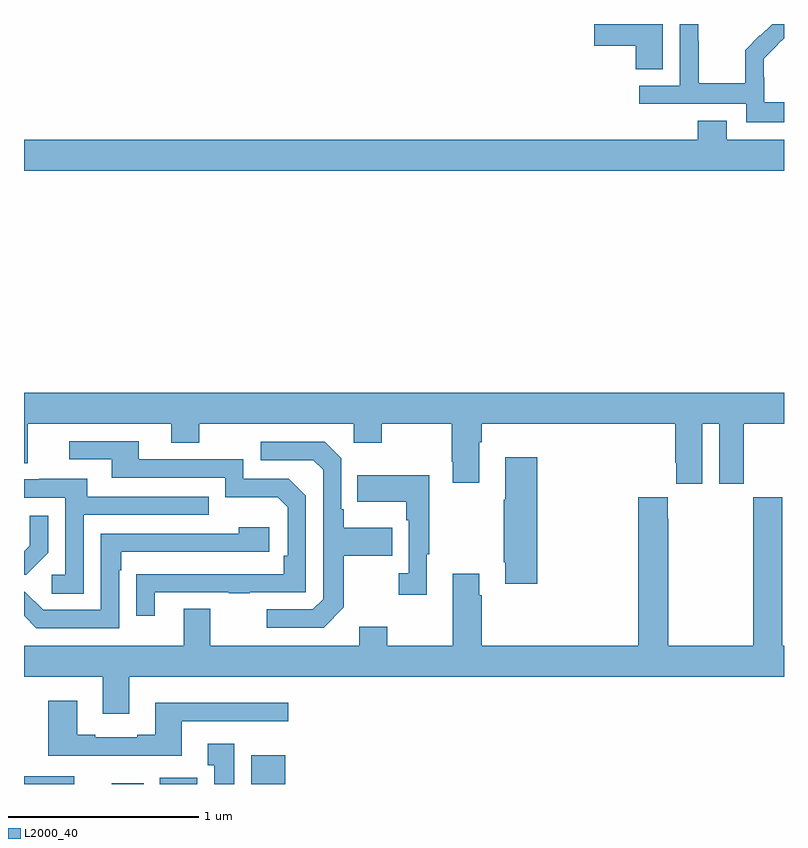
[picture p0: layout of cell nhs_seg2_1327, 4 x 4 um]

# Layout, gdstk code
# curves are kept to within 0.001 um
import gdstk
lib = gdstk.Library(unit=1e-6, precision=1e-09)
def R(c, l, rs):  # rectangles x0, y0, x1, y1
    for r in rs: c.add(gdstk.rectangle(r[:2], r[2:], *l))
def P(c, l, *ps):  # polygons
    for p in ps: c.add(gdstk.Polygon(p, *l))
L2000_40 = (2000, 40)

nhs_seg2_1327 = lib.new_cell('nhs_seg2_1327')
R(nhs_seg2_1327, L2000_40, [(181,585.8,181.264,585.841), (181.463,585.8,181.63,585.805), (181.715,585.8,181.912,585.832), (182.195,585.8,182.374,585.952)])
P(nhs_seg2_1327, L2000_40, [(184.363,589.8),(184.002,589.8),(184.002,589.685),(184.22,589.685),(184.22,589.561),(184.363,589.561)],
  [(185,589.387),(184.896,589.387),(184.896,589.521),(184.894,589.521),(184.894,589.618),(185,589.726),(185,589.8),(184.938,589.8),(184.875,589.737),(184.872,589.74),(184.795,589.663),(184.795,589.489),(184.551,589.489),(184.551,589.712),(184.548,589.712),(184.548,589.8),(184.452,589.8),(184.452,589.476),(184.239,589.476),(184.239,589.38),(184.8,589.38),(184.8,589.283),(185,589.283)],
  [(185,589.192),(184.699,589.192),(184.699,589.291),(184.547,589.291),(184.547,589.192),(181,589.192),(181,589.028),(185,589.028)],
  [(184.57,587.696),(184.658,587.696),(184.658,587.379),(184.789,587.379),(184.789,587.696),(185,587.696),(185,587.86),(181,587.86),(181,587.488),(181.021,587.488),(181.021,587.696),(181.775,587.696),(181.775,587.597),(181.923,587.597),(181.923,587.696),(182.736,587.696),(182.736,587.597),(182.883,587.597),(182.883,587.696),(183.25,587.696),(183.25,587.497),(183.257,587.497),(183.257,587.385),(183.397,587.385),(183.397,587.6),(183.41,587.6),(183.41,587.696),(184.427,587.696),(184.427,587.491),(184.433,587.491),(184.433,587.379),(184.57,587.379)],
  [(181.687,586.809),(182.077,586.809),(182.077,586.804),(182.189,586.804),(182.189,586.809),(182.484,586.809),(182.484,587.316),(182.394,587.406),(182.154,587.406),(182.154,587.508),(181.603,587.508),(181.603,587.604),(181.239,587.604),(181.239,587.508),(181.463,587.508),(181.463,587.412),(182.058,587.412),(182.058,587.309),(182.335,587.309),(182.388,587.256),(182.388,587.002),(182.368,587.002),(182.368,586.905),(181.591,586.904),(181.591,586.686),(181.687,586.686)],
  [(182.683,586.729),(182.683,587.002),(182.939,587.002),(182.939,587.149),(182.683,587.149),(182.683,587.245),(182.67,587.245),(182.67,587.514),(182.583,587.601),(182.247,587.601),(182.247,587.505),(182.523,587.505),(182.574,587.454),(182.574,586.773),(182.52,586.719),(182.277,586.719),(182.277,586.623),(182.577,586.623)],
  [(183.701,587.521),(183.533,587.521),(183.533,587.297),(183.526,587.297),(183.526,586.966),(183.533,586.966),(183.533,586.854),(183.701,586.854)],
  [(183.121,587.009),(183.133,587.009),(183.133,587.425),(182.755,587.425),(182.755,587.285),(183.012,587.285),(183.012,587.189),(183.024,587.189),(183.024,586.91),(182.973,586.91),(182.973,586.797),(183.121,586.797)],
  [(181.314,587.217),(181.973,587.217),(181.973,587.313),(181.333,587.313),(181.333,587.407),(181.079,587.407),(181.079,587.403),(181,587.403),(181,587.307),(181.218,587.307),(181.218,586.902),(181.146,586.902),(181.146,586.801),(181.314,586.801)],
  [(181.555,586.364),(185,586.364),(185,586.528),(184.992,586.528),(184.992,587.308),(184.837,587.308),(184.837,586.528),(184.392,586.528),(184.392,587.195),(184.387,587.195),(184.387,587.308),(184.232,587.308),(184.232,586.528),(183.41,586.528),(183.41,586.793),(183.397,586.793),(183.397,586.906),(183.257,586.906),(183.257,586.528),(182.913,586.528),(182.913,586.627),(182.765,586.627),(182.765,586.528),(181.981,586.528),(181.981,586.723),(181.841,586.723),(181.841,586.528),(181,586.528),(181,586.364),(181.415,586.364),(181.415,586.17),(181.555,586.17)],
  [(181.128,587.018),(181.128,587.212),(181.031,587.212),(181.031,587.055),(181,587.024),(181,586.902),(181.012,586.902)],
  [(181.5,586.925),(181.513,586.925),(181.513,587.022),(182.29,587.022),(182.29,587.152),(182.129,587.152),(182.129,587.118),(181.404,587.118),(181.404,586.716),(181.101,586.716),(181.005,586.812),(181,586.812),(181,586.685),(181.065,586.62),(181.5,586.62)],
  [(181.831,586.131),(182.392,586.131),(182.392,586.228),(181.691,586.228),(181.691,586.06),(181.595,586.06),(181.595,586.047),(181.375,586.047),(181.375,586.06),(181.279,586.06),(181.279,586.237),(181.127,586.237),(181.127,585.95),(181.831,585.95)],
  [(182.107,586.012),(181.967,586.012),(181.967,585.899),(182,585.899),(182,585.8),(182.107,585.8)])

lib.write_gds('nhs_seg2_1327.gds')
